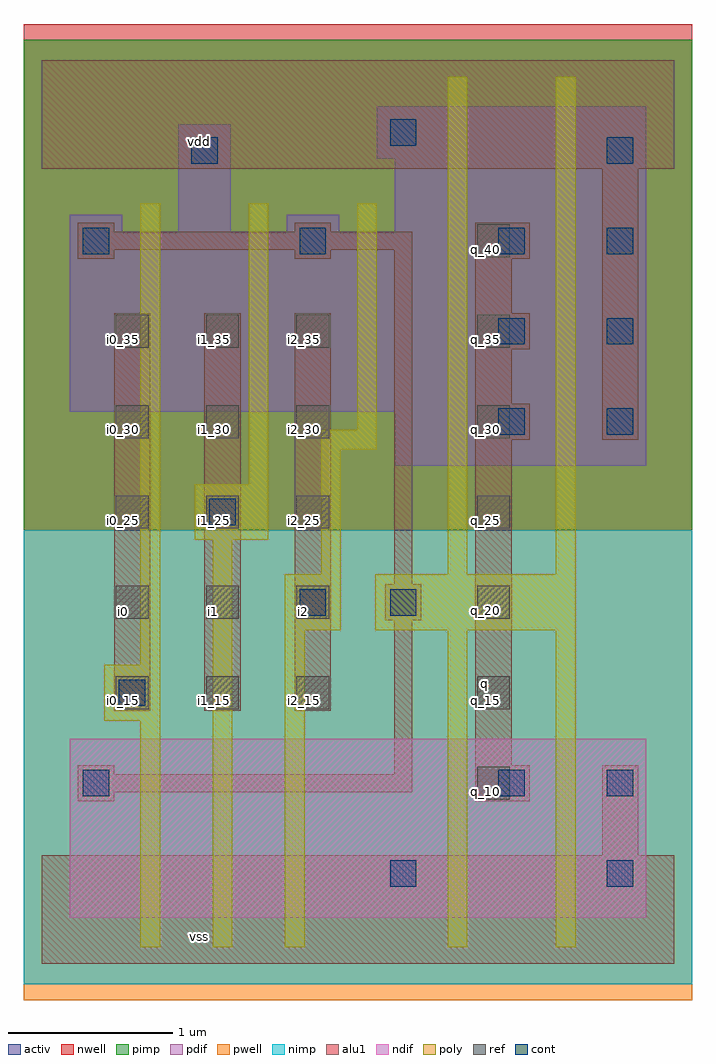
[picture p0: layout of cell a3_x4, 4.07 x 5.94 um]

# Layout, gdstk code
import gdstk
lib = gdstk.Library(unit=1e-6, precision=2.5e-09)
def R(c, l, rs):  # rectangles x0, y0, x1, y1
    for r in rs: c.add(gdstk.rectangle(r[:2], r[2:], *l))
def A(c, l, x, y, w, h, nx, ny, dx, dy):  # array of equal rectangles
    R(c, l, [(x+i*dx, y+j*dy, x+i*dx+w, y+j*dy+h) for i in range(nx) for j in range(ny)])
ndif = (3, 0)
pdif = (4, 0)
ref = (24, 0)
cont = (25, 0)
pwell = (41, 0)
nwell = (42, 0)
activ = (43, 0)
pimp = (44, 0)
nimp = (45, 0)
poly = (46, 0)
alu1 = (49, 0)

a3_x4 = lib.new_cell('a3_x4')
R(a3_x4, ndif, [(0.17,0.28,3.68,1.37), (0.17,0.28,3.68,1.37)])
R(a3_x4, pdif, [(2.15,3.03,3.68,3.36), (2.15,3.03,3.68,3.36), (0.17,3.36,3.68,4.45), (0.17,3.36,3.68,4.45), (0.17,4.45,0.49,4.56), (0.17,4.45,0.49,4.56), (0.83,4.45,1.15,5.11), (0.83,4.45,1.15,5.11), (1.49,4.45,1.81,4.56), (1.49,4.45,1.81,4.56), (2.15,4.45,3.68,4.9), (2.15,4.45,3.68,4.9), (2.04,4.9,3.68,5.22), (2.04,4.9,3.68,5.22)])
A(a3_x4, ref, 2.65, 1, 0.2, 0.2, 1, 7, 0, 0.55)
A(a3_x4, ref, 0.45, 1.55, 0.2, 0.2, 3, 5, 0.55, 0.55)
A(a3_x4, cont, 2.78, 3.22, 0.16, 0.16, 1, 3, 0, 0.55)
A(a3_x4, cont, 3.44, 3.22, 0.16, 0.16, 1, 4, 0, 0.55)
R(a3_x4, cont, [(2.12,0.47,2.28,0.63), (3.44,0.47,3.6,0.63), (0.25,1.02,0.41,1.18), (2.78,1.02,2.94,1.18), (3.44,1.02,3.6,1.18), (0.47,1.57,0.63,1.73), (1.57,2.12,1.73,2.28), (2.12,2.12,2.28,2.28), (1.02,2.67,1.18,2.83), (0.25,4.32,0.41,4.48), (1.57,4.32,1.73,4.48), (0.91,4.87,1.07,5.03), (2.12,4.98,2.28,5.14)])
R(a3_x4, pwell, [(-0.11,-0.22,3.96,2.64)])
R(a3_x4, nwell, [(-0.11,2.64,3.96,5.72)])
R(a3_x4, activ, [(0.17,0.28,3.68,1.37), (0.17,0.28,3.68,1.37), (2.15,3.03,3.68,3.36), (2.15,3.03,3.68,3.36), (0.17,3.36,3.68,4.45), (0.17,3.36,3.68,4.45), (0.17,4.45,0.49,4.56), (0.17,4.45,0.49,4.56), (0.83,4.45,1.15,5.11), (0.83,4.45,1.15,5.11), (1.49,4.45,1.81,4.56), (1.49,4.45,1.81,4.56), (2.15,4.45,3.68,4.9), (2.15,4.45,3.68,4.9), (2.04,4.9,3.68,5.22), (2.04,4.9,3.68,5.22)])
R(a3_x4, pimp, [(-0.11,2.64,3.96,5.625)])
R(a3_x4, nimp, [(-0.11,-0.125,3.96,2.64)])
R(a3_x4, poly, [(0.6,0.1,0.72,1.48), (1.04,0.1,1.16,2.58), (1.48,0.1,1.6,2.03), (2.47,0.1,2.59,2.03), (3.13,0.1,3.25,2.03), (0.38,1.48,0.72,1.82), (0.6,1.82,0.72,4.63), (1.48,2.03,1.82,2.37), (2.03,2.03,3.25,2.37), (1.7,2.37,1.82,3.13), (2.47,2.37,2.59,5.4), (3.13,2.37,3.25,5.4), (0.93,2.58,1.38,2.92), (1.26,2.92,1.38,4.63), (1.7,3.13,2.04,3.25), (1.92,3.25,2.04,4.63)])
A(a3_x4, alu1, 0.44, 1.54, 0.22, 2.42, 3, 1, 0.55, 0)
A(a3_x4, alu1, 2.64, 3.19, 0.33, 0.22, 1, 3, 0, 0.55)
R(a3_x4, alu1, [(0,0,3.85,0.66), (3.41,0.66,3.63,1.21), (0.22,0.99,0.44,1.045), (2.64,0.99,2.97,1.21), (0.22,1.045,2.255,1.155), (0.22,1.155,0.44,1.21), (2.145,1.155,2.255,2.09), (2.64,1.21,2.86,3.19), (2.09,2.09,2.31,2.31), (2.145,2.31,2.255,4.345), (3.41,3.19,3.63,4.84), (2.64,3.41,2.86,3.74), (2.64,3.96,2.86,4.29), (0.22,4.29,0.44,4.345), (1.54,4.29,1.76,4.345), (0.22,4.345,2.255,4.455), (0.22,4.455,0.44,4.51), (1.54,4.455,1.76,4.51), (0,4.84,3.85,5.5)])
a3_x4.add(gdstk.Label('vss', (0.9625,0.165), layer=49, texttype=0))
a3_x4.add(gdstk.Label('q', (2.695,1.705), layer=49, texttype=0))
a3_x4.add(gdstk.Label('i2', (1.595,2.145), layer=49, texttype=0))
a3_x4.add(gdstk.Label('i1', (1.045,2.145), layer=49, texttype=0))
a3_x4.add(gdstk.Label('i0', (0.495,2.145), layer=49, texttype=0))
a3_x4.add(gdstk.Label('vdd', (0.9625,5.005), layer=49, texttype=0))
a3_x4.add(gdstk.Label('q_15', (2.7,1.6), layer=24, texttype=0))
a3_x4.add(gdstk.Label('i0_35', (0.5,3.8), layer=24, texttype=0))
a3_x4.add(gdstk.Label('i0_30', (0.5,3.25), layer=24, texttype=0))
a3_x4.add(gdstk.Label('i0_25', (0.5,2.7), layer=24, texttype=0))
a3_x4.add(gdstk.Label('i0_20', (0.5,2.15), layer=24, texttype=0))
a3_x4.add(gdstk.Label('i0_15', (0.5,1.6), layer=24, texttype=0))
a3_x4.add(gdstk.Label('i1_35', (1.05,3.8), layer=24, texttype=0))
a3_x4.add(gdstk.Label('i1_30', (1.05,3.25), layer=24, texttype=0))
a3_x4.add(gdstk.Label('i1_25', (1.05,2.7), layer=24, texttype=0))
a3_x4.add(gdstk.Label('i1_20', (1.05,2.15), layer=24, texttype=0))
a3_x4.add(gdstk.Label('i1_15', (1.05,1.6), layer=24, texttype=0))
a3_x4.add(gdstk.Label('i2_15', (1.6,1.6), layer=24, texttype=0))
a3_x4.add(gdstk.Label('i2_20', (1.6,2.15), layer=24, texttype=0))
a3_x4.add(gdstk.Label('i2_25', (1.6,2.7), layer=24, texttype=0))
a3_x4.add(gdstk.Label('i2_30', (1.6,3.25), layer=24, texttype=0))
a3_x4.add(gdstk.Label('i2_35', (1.6,3.8), layer=24, texttype=0))
a3_x4.add(gdstk.Label('q_40', (2.7,4.35), layer=24, texttype=0))
a3_x4.add(gdstk.Label('q_35', (2.7,3.8), layer=24, texttype=0))
a3_x4.add(gdstk.Label('q_30', (2.7,3.25), layer=24, texttype=0))
a3_x4.add(gdstk.Label('q_25', (2.7,2.7), layer=24, texttype=0))
a3_x4.add(gdstk.Label('q_20', (2.7,2.15), layer=24, texttype=0))
a3_x4.add(gdstk.Label('q_10', (2.7,1.05), layer=24, texttype=0))

lib.write_gds('a3_x4.gds')
